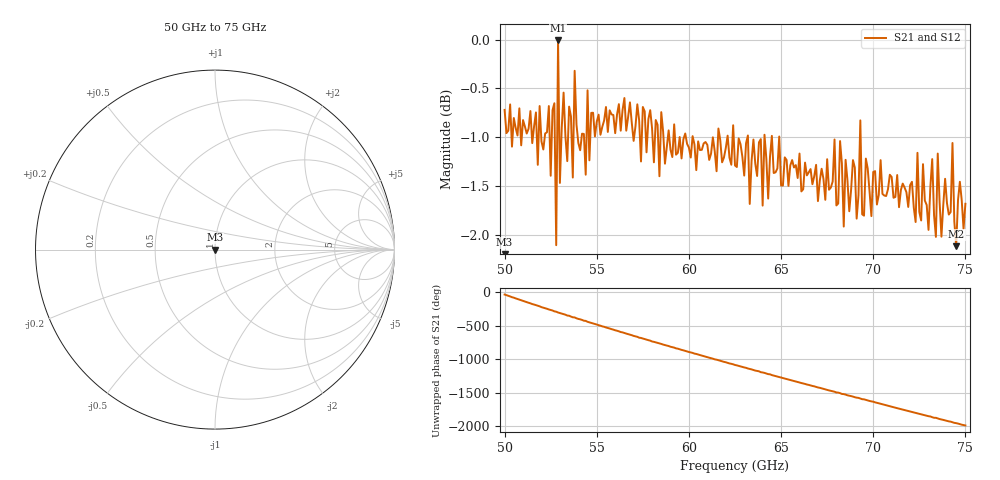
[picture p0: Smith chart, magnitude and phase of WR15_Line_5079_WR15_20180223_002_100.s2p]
# GHZ S RI R 50
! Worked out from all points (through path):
!   251 points, 50 GHz to 75 GHz, reference 50 ohm
!   highest |S21| = -0.01 dB at 52.9 GHz (marker M1); lowest = -2.1 dB at 74.5 GHz (marker M2)
!   lowest |S11| = - dB at 50 GHz (marker M3), VSWR 1.00, Z = 50 + j3.1e-16 ohm
!   |S11| at or under -10 dB: start of sweep to end of sweep
!   |S22| runs from - to - dB; largest |S21 - S12| = 1.4e-15
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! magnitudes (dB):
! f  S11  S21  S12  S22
! 50 GHz  -  -0.7  -0.7  -
! 52.4 GHz  -  -0.7  -0.7  -
! 52.5 GHz  -  -1.4  -1.4  -
! 52.7 GHz  -  -0.7  -0.7  -
! 52.8 GHz  -  -2.1  -2.1  -
! 52.9 GHz  -  0.0  0.0  -
! 53 GHz  -  -1.5  -1.5  -
! 53.2 GHz  -  -0.5  -0.5  -
! 53.7 GHz  -  -1.4  -1.4  -
! 54.2 GHz  -  -1.0  -1.0  -
! 58.4 GHz  -  -1.4  -1.4  -
! 62.5 GHz  -  -1.3  -1.3  -
! 66.7 GHz  -  -1.5  -1.5  -
! 70.9 GHz  -  -1.4  -1.4  -
! 73 GHz  -  -1.9  -1.9  -
! 73.2 GHz  -  -1.2  -1.2  -
! 73.4 GHz  -  -2.0  -2.0  -
! 73.5 GHz  -  -1.2  -1.2  -
! 73.7 GHz  -  -2.0  -2.0  -
! 74.3 GHz  -  -1.1  -1.1  -
! 74.5 GHz  -  -2.1  -2.1  -
! 75 GHz  -  -1.7  -1.7  -
